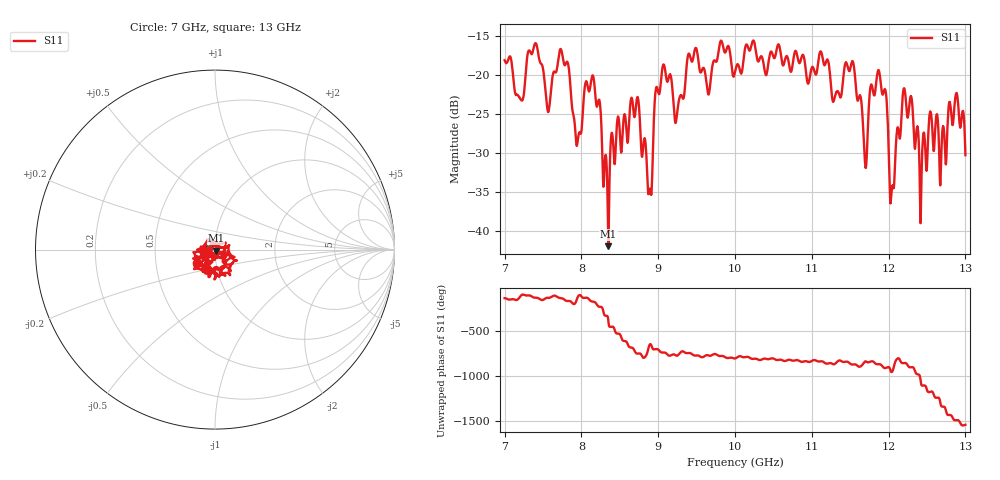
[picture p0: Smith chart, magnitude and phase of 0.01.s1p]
[Version] 2.0
! Rohde & Schwarz Vector Network Analyzer
! Rohde-Schwarz,ZNL20-2Port,1323001220200009,1.71.1.10-23.02.1.238
! Trace info:
! Nominal Param -> Actual Exported Buffer
! S11 -> S22
! Created: GMT+3 2024-09-24 16:36:27
# Hz S DB R 50
[Number of Ports] 1
! freq[Hz]  S11[mag dB]  S11[ang]
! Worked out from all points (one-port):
!   6001 points, 7 GHz to 13 GHz, reference 50 ohm
!   lowest |S11| = -41.9 dB at 8.352 GHz (marker M1), VSWR 1.02, Z = 50.6 - j0.546 ohm
!   |S11| at or under -10 dB: start of sweep to end of sweep
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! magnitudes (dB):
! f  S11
! 7 GHz  -18.1
! 7.219 GHz  -23.3
! 7.407 GHz  -16.0
! 7.568 GHz  -24.8
! 7.75 GHz  -17.3
! 7.949 GHz  -28.7
! 8.153 GHz  -20.2
! 8.352 GHz  -41.9
! 8.5 GHz  -27.3
! 8.732 GHz  -22.8
! 8.89 GHz  -34.7
! 8.967 GHz  -22.0
! 9.062 GHz  -18.8
! 9.25 GHz  -24.6
! 9.485 GHz  -16.6
! 10 GHz  -19.7
! 10.75 GHz  -18.7
! 11.29 GHz  -23.3
! 11.5 GHz  -19.2
! 11.7 GHz  -31.8
! 11.88 GHz  -19.6
! 11.96 GHz  -22.3
! 12.04 GHz  -34.5
! 12.19 GHz  -21.9
! 12.25 GHz  -25.4
! 12.42 GHz  -38.6
! 12.88 GHz  -22.3
! 13 GHz  -30.3
